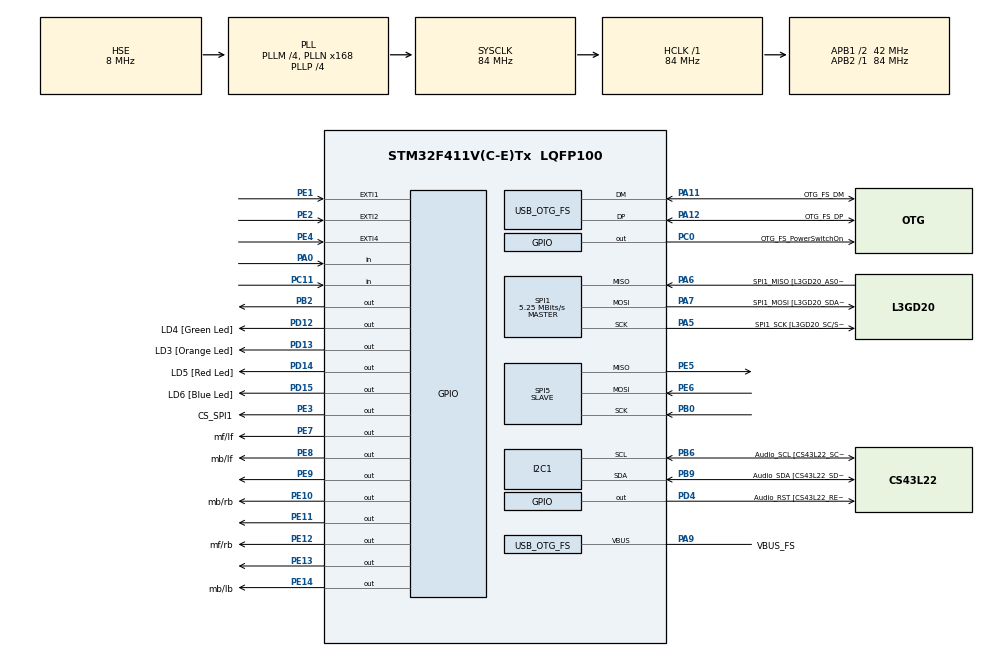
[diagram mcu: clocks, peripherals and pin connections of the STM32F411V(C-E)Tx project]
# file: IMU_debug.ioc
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Dma.Request0=SPI5_RX
Dma.Request1=SPI5_TX
Dma.SPI5_RX.0.Direction=DMA_PERIPH_TO_MEMORY
Dma.SPI5_RX.0.FIFOMode=DMA_FIFOMODE_DISABLE
Dma.SPI5_RX.0.Instance=DMA2_Stream3
Dma.SPI5_RX.0.MemDataAlignment=DMA_MDATAALIGN_BYTE
Dma.SPI5_RX.0.MemInc=DMA_MINC_ENABLE
Dma.SPI5_RX.0.Mode=DMA_NORMAL
Dma.SPI5_RX.0.PeriphDataAlignment=DMA_PDATAALIGN_BYTE
Dma.SPI5_RX.0.PeriphInc=DMA_PINC_DISABLE
Dma.SPI5_RX.0.Priority=DMA_PRIORITY_LOW
Dma.SPI5_TX.1.Direction=DMA_MEMORY_TO_PERIPH
Dma.SPI5_TX.1.FIFOMode=DMA_FIFOMODE_DISABLE
Dma.SPI5_TX.1.Instance=DMA2_Stream4
Dma.SPI5_TX.1.MemDataAlignment=DMA_MDATAALIGN_BYTE
Dma.SPI5_TX.1.MemInc=DMA_MINC_ENABLE
Dma.SPI5_TX.1.Mode=DMA_NORMAL
Dma.SPI5_TX.1.PeriphDataAlignment=DMA_PDATAALIGN_BYTE
Dma.SPI5_TX.1.PeriphInc=DMA_PINC_DISABLE
Dma.SPI5_TX.1.Priority=DMA_PRIORITY_LOW
I2C1.I2C_Mode=I2C_Fast
Mcu.Family=STM32F4
Mcu.Name=STM32F411V(C-E)Tx
Mcu.Package=LQFP100
NVIC.DMA2_Stream3_IRQn=true\:0\:0\:false\:false\:true\:false\:true
NVIC.DMA2_Stream4_IRQn=true\:0\:0\:false\:false\:true\:false\:true
NVIC.EXTI1_IRQn=true\:0\:0\:false\:false\:true\:true\:true
NVIC.EXTI2_IRQn=true\:0\:0\:false\:false\:true\:true\:true
NVIC.EXTI4_IRQn=true\:0\:0\:false\:false\:true\:true\:true
NVIC.OTG_FS_IRQn=true\:0\:0\:false\:false\:true\:false\:true
NVIC.PriorityGroup=NVIC_PRIORITYGROUP_0
PA0-WKUP.Signal=GPIO_Input
PA10.Signal=USB_OTG_FS_ID
PA11.GPIO_Label=OTG_FS_DM
PA11.Mode=Device_Only
PA11.Signal=USB_OTG_FS_DM
PA12.GPIO_Label=OTG_FS_DP
PA12.Mode=Device_Only
PA12.Signal=USB_OTG_FS_DP
PA13.GPIO_Label=SWDIO
PA13.Mode=Serial_Wire
PA13.Signal=SYS_JTMS-SWDIO
PA14.GPIO_Label=SWCLK
PA14.Mode=Serial_Wire
PA14.Signal=SYS_JTCK-SWCLK
PA4.GPIO_Label=I2S3_WS [CS43L22_LRCK]
PA4.GPIO_Mode=GPIO_MODE_AF_PP
PA4.GPIO_PuPd=GPIO_NOPULL
PA4.GPIO_Speed=GPIO_SPEED_FREQ_LOW
PA4.Signal=I2S3_WS
PA5.GPIO_Label=SPI1_SCK [L3GD20_SC/SPC]
PA5.Mode=Full_Duplex_Master
PA5.Signal=SPI1_SCK
PA6.GPIO_Label=SPI1_MISO [L3GD20_AS0/SDO]
PA6.Mode=Full_Duplex_Master
PA6.Signal=SPI1_MISO
PA7.GPIO_Label=SPI1_MOSI [L3GD20_SDA/SDI/SDO]
PA7.Mode=Full_Duplex_Master
PA7.Signal=SPI1_MOSI
PA9.GPIO_Label=VBUS_FS
PA9.Mode=Activate_VBUS
PA9.Signal=USB_OTG_FS_VBUS
PB0.Mode=Full_Duplex_Slave
PB0.Signal=SPI5_SCK
PB10.GPIO_Label=CLK_IN [MP45DT02_CLK]
PB10.Signal=I2S2_CK
PB12.Signal=I2S2_WS
PB2.Signal=GPIO_Output
PB3.GPIO_Label=SWO
PB3.Signal=SYS_JTDO-SWO
PB6.GPIO_Label=Audio_SCL [CS43L22_SCL]
PB6.GPIO_Mode=GPIO_MODE_AF_OD
PB6.GPIO_Pu=GPIO_PULLUP
PB6.GPIO_PuPd=GPIO_NOPULL
PB6.GPIO_Speed=GPIO_SPEED_FREQ_LOW
PB6.Mode=I2C
PB6.Signal=I2C1_SCL
PB9.GPIO_Label=Audio_SDA [CS43L22_SDA]
PB9.GPIO_Mode=GPIO_MODE_AF_OD
PB9.GPIO_Pu=GPIO_PULLUP
PB9.GPIO_PuPd=GPIO_NOPULL
PB9.GPIO_Speed=GPIO_SPEED_FREQ_LOW
PB9.Mode=I2C
PB9.Signal=I2C1_SDA
PC0.GPIO_Label=OTG_FS_PowerSwitchOn
PC0.PinState=GPIO_PIN_SET
PC0.Signal=GPIO_Output
PC10.GPIO_Label=I2S3_SCK [CS43L22_SCLK]
PC10.GPIO_Mode=GPIO_MODE_AF_PP
PC10.GPIO_PuPd=GPIO_NOPULL
PC10.GPIO_Speed=GPIO_SPEED_FREQ_LOW
PC10.Signal=I2S3_CK
PC11.Signal=GPIO_Input
PC12.GPIO_Label=I2S3_SD [CS43L22_SDIN]
PC12.GPIO_Mode=GPIO_MODE_AF_PP
PC12.GPIO_PuPd=GPIO_NOPULL
PC12.GPIO_Speed=GPIO_SPEED_FREQ_LOW
PC12.Signal=I2S3_SD
PC14-OSC32_IN.GPIO_Label=PC14-OSC32_IN
PC14-OSC32_IN.Signal=RCC_OSC32_IN
PC15-OSC32_OUT.GPIO_Label=PC15-OSC32_OUT
PC15-OSC32_OUT.Signal=RCC_OSC32_OUT
PC3.GPIO_Label=PDM_OUT [MP45DT02_DOUT]
PC3.Signal=I2S2_SD
PC7.GPIO_Label=I2S3_MCK [CS43L22_MCLK]
PC7.GPIO_Mode=GPIO_MODE_AF_PP
PC7.GPIO_PuPd=GPIO_NOPULL
PC7.GPIO_Speed=GPIO_SPEED_FREQ_LOW
PC7.Signal=I2S3_MCK
PD12.GPIO_Label=LD4 [Green Led]
PD12.GPIO_PuPd=GPIO_NOPULL
PD12.GPIO_Speed=GPIO_SPEED_FREQ_LOW
PD12.Signal=GPIO_Output
PD13.GPIO_Label=LD3 [Orange Led]
PD13.GPIO_PuPd=GPIO_NOPULL
PD13.GPIO_Speed=GPIO_SPEED_FREQ_LOW
PD13.Signal=GPIO_Output
PD14.GPIO_Label=LD5 [Red Led]
PD14.GPIO_PuPd=GPIO_NOPULL
PD14.GPIO_Speed=GPIO_SPEED_FREQ_LOW
PD14.Signal=GPIO_Output
PD15.GPIO_Label=LD6 [Blue Led]
PD15.GPIO_PuPd=GPIO_NOPULL
PD15.GPIO_Speed=GPIO_SPEED_FREQ_LOW
PD15.Signal=GPIO_Output
PD4.GPIO_Label=Audio_RST [CS43L22_RESET]
PD4.Signal=GPIO_Output
PE1.Signal=GPXTI1
PE10.GPIO_Label=mb/rb
PE10.Signal=GPIO_Output
PE11.Signal=GPIO_Output
PE12.GPIO_Label=mf/rb
PE12.Signal=GPIO_Output
PE13.Signal=GPIO_Output
PE14.GPIO_Label=mb/lb
PE14.Signal=GPIO_Output
PE2.Signal=GPXTI2
PE3.GPIO_Label=CS_SPI1
PE3.GPIO_Speed=GPIO_SPEED_FREQ_HIGH
PE3.Signal=GPIO_Output
PE4.Signal=GPXTI4
PE5.Mode=Full_Duplex_Slave
PE5.Signal=SPI5_MISO
PE6.Mode=Full_Duplex_Slave
PE6.Signal=SPI5_MOSI
PE7.GPIO_Label=mf/lf
PE7.Signal=GPIO_Output
PE8.GPIO_Label=mb/lf
PE8.Signal=GPIO_Output
PE9.Signal=GPIO_Output
PH0\ -\ OSC_IN.GPIO_Label=PH0-OSC_IN
PH0\ -\ OSC_IN.Mode=HSE-External-Oscillator
PH0\ -\ OSC_IN.Signal=RCC_OSC_IN
PH1\ -\ OSC_OUT.GPIO_Label=PH1-OSC_OUT
PH1\ -\ OSC_OUT.Mode=HSE-External-Oscillator
PH1\ -\ OSC_OUT.Signal=RCC_OSC_OUT
ProjectManager.HeapSize=0x200
ProjectManager.StackSize=0x400
ProjectManager.TargetToolchain=STM32CubeIDE
RCC.48MHZClocksFreq_Value=48000000
RCC.AHBFreq_Value=84000000
RCC.APB1CLKDivider=RCC_HCLK_DIV2
RCC.APB1Freq_Value=42000000
RCC.APB1TimFreq_Value=84000000
RCC.APB2Freq_Value=84000000
RCC.APB2TimFreq_Value=84000000
RCC.CortexFreq_Value=84000000
RCC.HCLKFreq_Value=84000000
RCC.HSE_VALUE=8000000
RCC.HSI_VALUE=16000000
RCC.LSE_VALUE=32768
RCC.PLLI2SM=5
RCC.PLLI2SN=200
RCC.PLLM=4
RCC.PLLN=168
RCC.PLLP=RCC_PLLP_DIV4
RCC.PLLQ=7
RCC.SYSCLKFreq_VALUE=84000000
RCC.SYSCLKSource=RCC_SYSCLKSOURCE_PLLCLK
RCC.VCOOutputFreq_Value=336000000
SPI1.BaudRatePrescaler=SPI_BAUDRATEPRESCALER_16
SPI1.CLKPhase=SPI_PHASE_2EDGE
SPI1.CalculateBaudRate=5.25 MBits/s
SPI1.Direction=SPI_DIRECTION_2LINES
SPI1.Mode=SPI_MODE_MASTER
SPI1.VirtualType=VM_MASTER
SPI5.Direction=SPI_DIRECTION_2LINES
SPI5.Mode=SPI_MODE_SLAVE
SPI5.VirtualType=VM_SLAVE
USB_DEVICE.CLASS_NAME_FS=CDC
USB_DEVICE.PRODUCT_STRING_CDC_FS=IMUDemo
USB_DEVICE.VirtualMode=Cdc
USB_DEVICE.VirtualModeFS=Cdc_FS
USB_OTG_FS.VirtualMode=Device_Only
VP_USB_DEVICE_VS_USB_DEVICE_CDC_FS.Mode=CDC_FS
board=STM32F411E-DISCO

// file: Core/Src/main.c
/* USER CODE BEGIN Header */
/**
  ******************************************************************************
  * @file           : main.c
  * @brief          : Main program body
  ******************************************************************************
  * @attention
  *
  * <h2><center>&copy; Copyright (c) 2022 STMicroelectronics.
  * All rights reserved.</center></h2>
  *
  * This software component is licensed by ST under Ultimate Liberty license
  * SLA0044, the "License"; You may not use this file except in compliance with
  * the License. You may obtain a copy of the License at:
  *                             www.st.com/SLA0044
  *
  ******************************************************************************
  */
/* USER CODE END Header */
#include "main.h"
#include "usb_device.h"

/* USER CODE BEGIN Includes */
#include "math.h"
#include "MadgwickAHRS.h"
#include "usbd_cdc_if.h"
#include "stdint.h"
/* USER CODE END Includes */

/* USER CODE BEGIN PTD */
struct EMUdata{
	int16_t x;
	int16_t y;
	int16_t z;
} Acc, AccF, Gyro, GyroF, Mag, MagF;
struct SendIMU{
	uint16_t head;
	//uint16_t num;
	int16_t XAcc;
	int16_t YAcc;
	int16_t ZAcc;
	int16_t XGyro;
	int16_t YGyro;
	int16_t ZGyro;
	int16_t XMag;
	int16_t YMag;
	int16_t ZMag;
}IMUsend;
volatile struct CalculatePoz{
	uint32_t head;
	float pitch;
	float roll;
	float heading;
	float Q0;
	float Q1;
	float Q2;
	float Q3;
	float pozX;
	float pozY;
	float magX;
	float magY;
	float magZ;
}P;
volatile struct IMUError{
	int16_t Gyrox; //drift from 0
	int16_t Gyroy;
	int16_t Gyroz;
	float HardIronMagx;
	float HardIronMagy;
	float HardIronMagz;
	float SoftIronMagx;
	float SoftIronMagy;
	float SoftIronMagz;
	int16_t Accx;
	int16_t Accy;
	int16_t Accz;
}E;
/* USER CODE END PTD */

/* USER CODE BEGIN PD */
#define PI 3.14159265358979323846f
#define DEG_TO_RAD 0.01745329252f
#define SPI_BUFFER_SIZE 32

#define STEVILO_CLENOV_TP 60
struct tekocePovprecjeInt16{
	uint8_t index;
	int16_t avrage;
	int32_t sum;
	int16_t vals[STEVILO_CLENOV_TP];
} AccX,AccY,AccZ,GyroX,GyroY,GyroZ,MagX,MagY,MagZ;

/* USER CODE END PD */

I2C_HandleTypeDef hi2c1;

SPI_HandleTypeDef hspi1;
SPI_HandleTypeDef hspi5;
DMA_HandleTypeDef hdma_spi5_rx;
DMA_HandleTypeDef hdma_spi5_tx;

/* USER CODE BEGIN PV */
volatile uint8_t GyroReady = 0;
volatile uint8_t AccReady = 0;
volatile uint8_t MagReady = 0;
volatile uint8_t sendData = 0;

volatile float Xold = 0.0f;
volatile float Yold = 0.0f;

uint32_t rasberyReqSize = 4;
volatile uint8_t SPIcommandRecived = 0;

volatile uint8_t SpiTxData[SPI_BUFFER_SIZE];
volatile uint8_t SpiRxData[SPI_BUFFER_SIZE];
/* USER CODE END PV */

void SystemClock_Config(void);
static void MX_GPIO_Init(void);
static void MX_I2C1_Init(void);
static void MX_SPI1_Init(void);
static void MX_DMA_Init(void);
static void MX_SPI5_Init(void);
/* USER CODE BEGIN PFP */
void HAL_GPIO_EXTI_Callback(uint16_t GPIO_Pin);
/* USER CODE END PFP */

/* USER CODE BEGIN 0 */

uint8_t i2c1_pisiRegister(uint8_t naprava, uint8_t reg, uint8_t podatek) {
  naprava <<= 1;
  return HAL_I2C_Mem_Write(&hi2c1, naprava, reg, I2C_MEMADD_SIZE_8BIT, &podatek, 1, 10);
}

void i2c1_beriRegistre(uint8_t naprava, uint8_t reg, uint8_t* podatek, uint8_t dolzina) {
  if ((dolzina>1)&&(naprava==0x19))  // ce je naprava 0x19 moramo postaviti ta bit, ce zelimo brati vec zlogov
    reg |= 0x80;
  naprava <<= 1;
  HAL_I2C_Mem_Read(&hi2c1, naprava, reg, I2C_MEMADD_SIZE_8BIT, podatek, dolzina, dolzina);
}
uint8_t spi1_beriRegister(uint8_t reg) {
	uint16_t buf_out, buf_in;
	reg |= 0x80; // najpomembnejsi bit na 1
	buf_out = reg; // little endian, se postavi na pravo mesto ....
	HAL_GPIO_WritePin(GPIOE, GPIO_PIN_3, GPIO_PIN_RESET);
	//HAL_SPI_TransmitReceive(&hspi1, (uint8_t*)&buf_out, (uint8_t*)&buf_in, 2, 2); // blocking posiljanje ....
	HAL_SPI_TransmitReceive(&hspi1, &((uint8_t*)&buf_out)[0], &((uint8_t*)&buf_in)[0], 1, 2); // razbito na dva dela, da se podaljsa cas in omogoci pravilno delovanje testa
	HAL_SPI_TransmitReceive(&hspi1, &((uint8_t*)&buf_out)[1], &((uint8_t*)&buf_in)[1], 1, 2); // razbito na dva dela, da se podaljsa cas in omogoci pravilno delovanje testa
	HAL_GPIO_WritePin(GPIOE, GPIO_PIN_3, GPIO_PIN_SET);
	return buf_in >> 8; // little endian...
}
void spi1_pisiRegister(uint8_t reg, uint8_t vrednost) {
  uint16_t buf_out;
  buf_out = reg | (vrednost<<8); // little endian, se postavi na pravo mesto ....
  HAL_GPIO_WritePin(GPIOE, GPIO_PIN_3, GPIO_PIN_RESET);
  //HAL_SPI_Transmit(&hspi1, (uint8_t*)&buf_out, 2, 2); // blocking posiljanje ....
  HAL_SPI_Transmit(&hspi1, &((uint8_t*)&buf_out)[0], 1, 2); // razbito na dva dela, da se podaljsa cas in omogoci pravilno delovanje testa
  HAL_SPI_Transmit(&hspi1, &((uint8_t*)&buf_out)[1], 1, 2); // razbito na dva dela, da se podaljsa cas in omogoci pravilno delovanje testa
  HAL_GPIO_WritePin(GPIOE, GPIO_PIN_3, GPIO_PIN_SET);
}
void spi1_beriRegistre(uint8_t reg, uint8_t* buffer, uint8_t velikost) {
  reg |= 0xC0; // najpomembnejsa bita na 1
  HAL_GPIO_WritePin(GPIOE, GPIO_PIN_3, GPIO_PIN_RESET);
  HAL_SPI_Transmit(&hspi1, &reg, 1, 10); // blocking posiljanje....
  HAL_SPI_Receive(&hspi1,  buffer, velikost, velikost); // blocking posiljanje....
  HAL_GPIO_WritePin(GPIOE, GPIO_PIN_3, GPIO_PIN_SET);
}
void nastaviPospeskometer(){
	//register maping lsm303agr.pdf page(43)
	//0x23 0x40 BLE litle endian
	i2c1_pisiRegister(0x19, 0x21, 0x0);
	i2c1_pisiRegister(0x19, 0x24, 0x0);
	i2c1_pisiRegister(0x19, 0x25, 0x0);
	i2c1_pisiRegister(0x19, 0x26, 0x0);
	i2c1_pisiRegister(0x19, 0x20, 0x67);  //ctrl_reg1 zbudi pospeskometer in omogoci osi //0x20 0x67 200Hz enable XYZ
	//block data update HR=1 oprating mode selection 12bit data output LPen = 0 (low power mode disabled) FS0 = 1(+-4g obcutljivost)
	i2c1_pisiRegister(0x19, 0x23, 0x8);  //ctrl_reg4 nastavi posodobitev samo ko se prebere vrednost ter locljivost +-2g
	i2c1_pisiRegister(0x19, 0x22, 0x10);  //0x22 0x10 DRDY1 INT1 pin enable pe4
}
void nastaviMagnetometer(){
	i2c1_pisiRegister(0x1e, 0x60, 0xC); //cfg_reg_a_m ODR= 100HZ
	i2c1_pisiRegister(0x1e, 0x61, 0x0); //cfg_reg_b_m
	i2c1_pisiRegister(0x1e, 0x62, 0x1); //cfg_reg_c_m INT_MAG=1 INT_MAG_PIN=0 BDU=0
	i2c1_pisiRegister(0x1e, 0x63, 0xE5); //int_ctrl_reg_m enable XYZ in IEN=1 interupt generation enable IEA=1
}
void nastaviGiroskop() {
  // preverimo ali smo "poklicali" pravi senzor
  uint8_t cip = spi1_beriRegister(0x0F);
  if (cip!=0xD4 && cip!=0xD3) {
	for (;;); //napaka ni senzorja
  }
  spi1_pisiRegister(0x21,0);//REG2 register za high pass filter
  spi1_pisiRegister(0x22,0x8);//REG3 interupt INT1 disable DRDY/INT2 enable
    //0001 0000 FS-01 500dps
  spi1_pisiRegister(0x23,0x10);//REG4 MSB@lower addres 500deg/s 0x10 BLE = 0 BIGendian

  spi1_pisiRegister(0x25,0);//REFRENCE
  spi1_pisiRegister(0x2e,0);//FIFO_CTRL
  spi1_pisiRegister(0x32,0);//INT1_THS
  spi1_pisiRegister(0x33,0);//INT1_THS
  spi1_pisiRegister(0x34,0);//INT1_THS
  spi1_pisiRegister(0x35,0);//INT1_THS
  spi1_pisiRegister(0x36,0);//INT1_THS
  spi1_pisiRegister(0x37,0);//INT1_THS
  spi1_pisiRegister(0x38,0);//INT1_DUR
  spi1_pisiRegister(0x30,0);//INT1_CFG

  spi1_pisiRegister(0x24,0);//REG5
  //0101 1111 : (1111)=(PD,Zen,Yen,Xen)
  spi1_pisiRegister(0x20,0x5f);//CTRL_REG1 omogoci x-1,y-1,z-1,PD-1(normal mode) DR = 01 BW = 10 cutof=25 200hz

  spi1_pisiRegister(0x20, 0x0F);//CTRL REG1 zbudi ziroskop in omogoci osi
}

float normalize_v3f(float* x, float* y, float* z){
	float norm = sqrt( (*x) * (*x) + (*y) * (*y) + (*z) * (*z) );
	*x /= norm;
	*y /= norm;
	*z /= norm;
}

int16_t izracunajPovprecjeInt16(struct tekocePovprecjeInt16* data,int16_t nov, uint8_t cleni){
	data->sum =  data->sum + nov - data->vals[data->index]; //pristejemo trenutno vrednost in odstejemo zadnjo
	data->vals[data->index] = nov; //na zadnjo zamenjamo z novo
	data->index++;
	if(cleni > STEVILO_CLENOV_TP){cleni = STEVILO_CLENOV_TP;}
	if(data->index >= cleni){data->index = 0;}
	data->avrage =  data->sum/cleni;//izracunamo povprecje
	return data->avrage;
}

void getDrift(){
	HAL_GPIO_WritePin(GPIOD, GPIO_PIN_14, 1);
	int32_t sumGyrox = 0;
	int32_t sumGyroy = 0;
	int32_t sumGyroz = 0;
	int32_t sumAccx = 0;
	int32_t sumAccy = 0;
	int32_t sumAccz = 0;
	for(int i=0; i < 400; i++){
		sumGyrox += Gyro.x;
		sumGyroy += Gyro.y;
		sumGyroz += Gyro.z;
		sumAccx += Acc.x;
		sumAccy += Acc.y;
		sumAccz += Acc.z;
		HAL_Delay(6);
	}
	E.Accx = sumAccx/400; //vektor gravitacije
	E.Accy = sumAccy/400;
	E.Accz = sumAccz/400;
	E.Gyrox = sumGyrox/400;
	E.Gyroy = sumGyroy/400;
	E.Gyroz = sumGyroz/400;

	HAL_GPIO_WritePin(GPIOD, GPIO_PIN_14, 0);

	P.pozX = 0;
	P.pozY = 0;
}

void HAL_GPIO_EXTI_Callback(uint16_t GPIO_Pin)
{
	//kateri pin je poklical EXIT event
	if(GPIO_Pin == GPIO_PIN_1){ //vsakic ko dobis interupt posodobi podatke
		spi1_beriRegistre(0x28, (uint8_t*)&Gyro, 6);
		GyroReady = 1; //zastavica da so na voljo novi podatki 200Hz
	}
	else if(GPIO_Pin == GPIO_PIN_4){
		//data ready pospeskometer
		i2c1_beriRegistre(0x19, 0x28,(uint8_t*)&Acc, 6);
		AccReady = 1; //200Hz
	}
	else if(GPIO_Pin == GPIO_PIN_2){
		//data ready megnetometer
		i2c1_beriRegistre(0x1e, 0x68,(uint8_t*)&Mag, 6);
		MagReady = 1; //100Hz
	}

}
/* USER CODE END 0 */

int main(void)
{

  /* MCU Configuration--------------------------------------------------------*/

  /* Reset of all peripherals, Initializes the Flash interface and the Systick. */
  HAL_Init();

  /* Configure the system clock */
  SystemClock_Config();

  /* Initialize all configured peripherals */
  MX_GPIO_Init();
  MX_I2C1_Init();
  MX_SPI1_Init();
  MX_DMA_Init();
  MX_SPI5_Init();
  MX_USB_DEVICE_Init();

  /* Infinite loop */
  /* USER CODE BEGIN WHILE */
  __HAL_I2C_ENABLE(&hi2c1); //omogocimo I2C1 za komunikacijo z vgrajenimi cipi
  __HAL_SPI_ENABLE(&hspi1); //komunikacija gyro

  __HAL_SPI_ENABLE(&hspi5); //rasbery pi
  HAL_Delay(50);
  nastaviPospeskometer();
  nastaviMagnetometer();
  nastaviGiroskop();
  //prvic preberi podatke da se generirajo interupti
  spi1_beriRegistre(0x28, (uint8_t*)&Gyro, 6);
  i2c1_beriRegistre(0x19, 0x28,(uint8_t*)&Acc, 6);
  i2c1_beriRegistre(0x1e, 0x68,(uint8_t*)&Mag, 6);

  E.Accx = 0;
  E.Accy = 0;
  E.Accz = 0;
  E.Gyrox = 0;
  E.Gyroy = 0;
  E.Gyroz = 0;
  E.HardIronMagx = 0;
  E.HardIronMagy = 0;
  E.HardIronMagz = 0;
  E.SoftIronMagx = 1;
  E.SoftIronMagy = 1;
  E.SoftIronMagz = 1;

  getDrift();

  while (1)
  {
    /* USER CODE END WHILE */
	  if(MagReady){
		  MagF.x = izracunajPovprecjeInt16(&MagX,Mag.x,10);
		  MagF.y = izracunajPovprecjeInt16(&MagY,Mag.y,10);
		  MagF.z = izracunajPovprecjeInt16(&MagZ,Mag.z,10);
		  MagReady = 0;

		  //posiljanje podatkov

		  //HAL_SPI_TransmitReceive_DMA(&hspi5, SpiTxData, SpiRxData, 32);
		  //HAL_SPI_Transmit_DMA(&hspi5, SpiTxData, 32);
		  //HAL_SPI_Receive_DMA(&hspi5, SpiRxData, 32);

		  P.head = 0xAAAB;
		  CDC_Transmit_FS((uint8_t*)&P,(sizeof(float)*12)+4);
	  }
	  if(AccReady){
		  Acc.x -= E.Accx;
		  Acc.y -= E.Accy;
		  AccF.x = izracunajPovprecjeInt16(&AccX,Acc.x,50);
		  AccF.y = izracunajPovprecjeInt16(&AccY,Acc.y,50);
		  AccF.z = izracunajPovprecjeInt16(&AccZ,Acc.z,50);
		  AccReady = 0;
	  }
	  if(GyroReady){
		  Gyro.x -= E.Gyrox;
		  Gyro.y -= E.Gyroy;
		  Gyro.z -= E.Gyroz;
		  GyroF.x = izracunajPovprecjeInt16(&GyroX,Gyro.x,50);
		  GyroF.y = izracunajPovprecjeInt16(&GyroY,Gyro.y,50);
		  GyroF.z = izracunajPovprecjeInt16(&GyroZ,Gyro.z,50);
		  GyroReady = 0;
		  //poracunamo podatke
		  float gx,gy,gz,ax,ay,az,mx,my,mz;

		  if(AccF.x == 0 && AccF.y == 0 && AccF.z==0){ax=0.0f; ay=0.0f; az=1.0f;}
		  else{
			  ax = ((float)AccF.x) *-0.0006103515f;
			  ay = ((float)AccF.y) *0.0006103515f;
			  az = ((float)AccF.z) *0.0006103515f; //+-2g  2/(2^16/2)
			  normalize_v3f(&ax,&ay,&az);
		  }

		  gx = ((float)GyroF.x) * 0.0175f * DEG_TO_RAD*2; //deg/s obcutljivost 500dps
		  gy = ((float)GyroF.y) * 0.0175f * DEG_TO_RAD*2;
		  gz = ((float)GyroF.z) * 0.0175f * DEG_TO_RAD*2;

		  if(MagF.x == 0 && MagF.y == 0 && MagF.z==0){mx = 0.2f; my = 0.2f; mz = 0.1f;}
		  else{
			  mx = ((float)MagF.x);// * 0.0015f; //magnetic sesnetivity 1.5 mgauss/LSB
			  my = ((float)MagF.y);// * -0.0015f;
			  mz = ((float)MagF.z);// * 0.0015f;
		  }
		  normalize_v3f(&mx,&my,&mz);

		  //MadgwickAHRSupdate(gx,gy,gz,ax,ay,az,mx,my,mz);
		  MadgwickAHRSupdate(gx,gy,gz,ax,ay,az,0,0,0);
		  P.heading = atan2(2*(q0*q3+q1*q2),1-2*(q2*q2+q3*q3));//*(180/PI);
		  P.roll = atan2(2*(q0*q1+q2*q3),1-2*(q1*q1+q2*q2));//*(180/PI);
		  P.pitch = asin(2*(q0*q2 - q3*q1));//*(180/PI);
		  P.Q0 = q0; P.Q1 = q1; P.Q2 = q2; P.Q3 = q3;

		  //rotiraj po X za roll
		  ay = ay*cos(P.roll)-az*sin(P.roll);
		  az = ay*sin(P.roll)+az*cos(P.roll);
		  //rotiraj vektor okoli Y za pitch
		  ax = ax*cos(-P.pitch)-az*sin(-P.pitch);
		  az = -ax*sin(-P.pitch)+az*cos(-P.pitch);

		  //pretvorimo v globalni kordinatni sistem

		  if(ax > 0.0005 || ay > 0.0005){
			  P.pozX = Xold + 0.5*ax*0.025;
			  P.pozY = Yold + 0.5*ay*0.025;
			  Xold = P.pozX;
			  Yold = P.pozY;
		  }
		  P.magX = ax;
		  P.magY = ay;
		  P.magZ = az;

		  for(int n=4; n<30; n++){ //pripravi podatke za spi
			  SpiTxData[n-4] = ((uint8_t*)&P)[n];
		  }
	  }
  }
}

void SystemClock_Config(void)
{
  RCC_OscInitTypeDef RCC_OscInitStruct = {0};
  RCC_ClkInitTypeDef RCC_ClkInitStruct = {0};

  /** Configure the main internal regulator output voltage
  */
  __HAL_RCC_PWR_CLK_ENABLE();
  __HAL_PWR_VOLTAGESCALING_CONFIG(PWR_REGULATOR_VOLTAGE_SCALE1);
  /** Initializes the RCC Oscillators according to the specified parameters
  * in the RCC_OscInitTypeDef structure.
  */
  RCC_OscInitStruct.OscillatorType = RCC_OSCILLATORTYPE_HSE;
  RCC_OscInitStruct.HSEState = RCC_HSE_ON;
  RCC_OscInitStruct.PLL.PLLState = RCC_PLL_ON;
  RCC_OscInitStruct.PLL.PLLSource = RCC_PLLSOURCE_HSE;
  RCC_OscInitStruct.PLL.PLLM = 4;
  RCC_OscInitStruct.PLL.PLLN = 168;
  RCC_OscInitStruct.PLL.PLLP = RCC_PLLP_DIV4;
  RCC_OscInitStruct.PLL.PLLQ = 7;
  if (HAL_RCC_OscConfig(&RCC_OscInitStruct) != HAL_OK)
  {
    Error_Handler();
  }
  /** Initializes the CPU, AHB and APB buses clocks
  */
  RCC_ClkInitStruct.ClockType = RCC_CLOCKTYPE_HCLK|RCC_CLOCKTYPE_SYSCLK
                              |RCC_CLOCKTYPE_PCLK1|RCC_CLOCKTYPE_PCLK2;
  RCC_ClkInitStruct.SYSCLKSource = RCC_SYSCLKSOURCE_PLLCLK;
  RCC_ClkInitStruct.AHBCLKDivider = RCC_SYSCLK_DIV1;
  RCC_ClkInitStruct.APB1CLKDivider = RCC_HCLK_DIV2;
  RCC_ClkInitStruct.APB2CLKDivider = RCC_HCLK_DIV1;

  if (HAL_RCC_ClockConfig(&RCC_ClkInitStruct, FLASH_LATENCY_2) != HAL_OK)
  {
    Error_Handler();
  }
}

static void MX_I2C1_Init(void)
{

  hi2c1.Instance = I2C1;
  hi2c1.Init.ClockSpeed = 400000;
  hi2c1.Init.DutyCycle = I2C_DUTYCYCLE_2;
  hi2c1.Init.OwnAddress1 = 0;
  hi2c1.Init.AddressingMode = I2C_ADDRESSINGMODE_7BIT;
  hi2c1.Init.DualAddressMode = I2C_DUALADDRESS_DISABLE;
  hi2c1.Init.OwnAddress2 = 0;
  hi2c1.Init.GeneralCallMode = I2C_GENERALCALL_DISABLE;
  hi2c1.Init.NoStretchMode = I2C_NOSTRETCH_DISABLE;
  if (HAL_I2C_Init(&hi2c1) != HAL_OK)
  {
    Error_Handler();
  }

}

static void MX_SPI1_Init(void)
{

  /* SPI1 parameter configuration*/
  hspi1.Instance = SPI1;
  hspi1.Init.Mode = SPI_MODE_MASTER;
  hspi1.Init.Direction = SPI_DIRECTION_2LINES;
  hspi1.Init.DataSize = SPI_DATASIZE_8BIT;
  hspi1.Init.CLKPolarity = SPI_POLARITY_LOW;
  hspi1.Init.CLKPhase = SPI_PHASE_2EDGE;
  hspi1.Init.NSS = SPI_NSS_SOFT;
  hspi1.Init.BaudRatePrescaler = SPI_BAUDRATEPRESCALER_16;
  hspi1.Init.FirstBit = SPI_FIRSTBIT_MSB;
  hspi1.Init.TIMode = SPI_TIMODE_DISABLE;
  hspi1.Init.CRCCalculation = SPI_CRCCALCULATION_DISABLE;
  hspi1.Init.CRCPolynomial = 10;
  if (HAL_SPI_Init(&hspi1) != HAL_OK)
  {
    Error_Handler();
  }

}

static void MX_SPI5_Init(void)
{

  /* SPI5 parameter configuration*/
  hspi5.Instance = SPI5;
  hspi5.Init.Mode = SPI_MODE_SLAVE;
  hspi5.Init.Direction = SPI_DIRECTION_2LINES;
  hspi5.Init.DataSize = SPI_DATASIZE_8BIT;
  hspi5.Init.CLKPolarity = SPI_POLARITY_LOW;
  hspi5.Init.CLKPhase = SPI_PHASE_1EDGE;
  hspi5.Init.NSS = SPI_NSS_SOFT;
  hspi5.Init.FirstBit = SPI_FIRSTBIT_MSB;
  hspi5.Init.TIMode = SPI_TIMODE_DISABLE;
  hspi5.Init.CRCCalculation = SPI_CRCCALCULATION_DISABLE;
  hspi5.Init.CRCPolynomial = 10;
  if (HAL_SPI_Init(&hspi5) != HAL_OK)
  {
    Error_Handler();
  }

}

static void MX_DMA_Init(void)
{

  /* DMA controller clock enable */
  __HAL_RCC_DMA2_CLK_ENABLE();

  /* DMA interrupt init */
  /* DMA2_Stream3_IRQn interrupt configuration */
  HAL_NVIC_SetPriority(DMA2_Stream3_IRQn, 0, 0);
  HAL_NVIC_EnableIRQ(DMA2_Stream3_IRQn);
  /* DMA2_Stream4_IRQn interrupt configuration */
  HAL_NVIC_SetPriority(DMA2_Stream4_IRQn, 0, 0);
  HAL_NVIC_EnableIRQ(DMA2_Stream4_IRQn);

}

static void MX_GPIO_Init(void)
{
  GPIO_InitTypeDef GPIO_InitStruct = {0};

  /* GPIO Ports Clock Enable */
  __HAL_RCC_GPIOE_CLK_ENABLE();
  __HAL_RCC_GPIOC_CLK_ENABLE();
  __HAL_RCC_GPIOH_CLK_ENABLE();
  __HAL_RCC_GPIOA_CLK_ENABLE();
  __HAL_RCC_GPIOB_CLK_ENABLE();
  __HAL_RCC_GPIOD_CLK_ENABLE();

  /*Configure GPIO pin Output Level */
  HAL_GPIO_WritePin(GPIOE, CS_SPI1_Pin|mf_lf_Pin|mb_lf_Pin|GPIO_PIN_9
                          |mb_rb_Pin|GPIO_PIN_11|mf_rb_Pin|GPIO_PIN_13
                          |mb_lb_Pin, GPIO_PIN_RESET);

  /*Configure GPIO pin Output Level */
  HAL_GPIO_WritePin(OTG_FS_PowerSwitchOn_GPIO_Port, OTG_FS_PowerSwitchOn_Pin, GPIO_PIN_SET);

  /*Configure GPIO pin Output Level */
  HAL_GPIO_WritePin(GPIOB, GPIO_PIN_2, GPIO_PIN_RESET);

  /*Configure GPIO pin Output Level */
  HAL_GPIO_WritePin(GPIOD, LD4_Pin|LD3_Pin|LD5_Pin|LD6_Pin
                          |Audio_RST_Pin, GPIO_PIN_RESET);

  /*Configure GPIO pins : PE2 PE4 PE1 */
  GPIO_InitStruct.Pin = GPIO_PIN_2|GPIO_PIN_4|GPIO_PIN_1;
  GPIO_InitStruct.Mode = GPIO_MODE_IT_RISING;
  GPIO_InitStruct.Pull = GPIO_NOPULL;
  HAL_GPIO_Init(GPIOE, &GPIO_InitStruct);

  /*Configure GPIO pin : CS_SPI1_Pin */
  GPIO_InitStruct.Pin = CS_SPI1_Pin;
  GPIO_InitStruct.Mode = GPIO_MODE_OUTPUT_PP;
  GPIO_InitStruct.Pull = GPIO_NOPULL;
  GPIO_InitStruct.Speed = GPIO_SPEED_FREQ_HIGH;
  HAL_GPIO_Init(CS_SPI1_GPIO_Port, &GPIO_InitStruct);

  /*Configure GPIO pin : OTG_FS_PowerSwitchOn_Pin */
  GPIO_InitStruct.Pin = OTG_FS_PowerSwitchOn_Pin;
  GPIO_InitStruct.Mode = GPIO_MODE_OUTPUT_PP;
  GPIO_InitStruct.Pull = GPIO_NOPULL;
  GPIO_InitStruct.Speed = GPIO_SPEED_FREQ_LOW;
  HAL_GPIO_Init(OTG_FS_PowerSwitchOn_GPIO_Port, &GPIO_InitStruct);

  /*Configure GPIO pin : PDM_OUT_Pin */
  GPIO_InitStruct.Pin = PDM_OUT_Pin;
  GPIO_InitStruct.Mode = GPIO_MODE_AF_PP;
  GPIO_InitStruct.Pull = GPIO_NOPULL;
  GPIO_InitStruct.Speed = GPIO_SPEED_FREQ_LOW;
  GPIO_InitStruct.Alternate = GPIO_AF5_SPI2;
  HAL_GPIO_Init(PDM_OUT_GPIO_Port, &GPIO_InitStruct);

  /*Configure GPIO pin : PA0 */
  GPIO_InitStruct.Pin = GPIO_PIN_0;
  GPIO_InitStruct.Mode = GPIO_MODE_INPUT;
  GPIO_InitStruct.Pull = GPIO_NOPULL;
  HAL_GPIO_Init(GPIOA, &GPIO_InitStruct);

  /*Configure GPIO pin : I2S3_WS_Pin */
  GPIO_InitStruct.Pin = I2S3_WS_Pin;
  GPIO_InitStruct.Mode = GPIO_MODE_AF_PP;
  GPIO_InitStruct.Pull = GPIO_NOPULL;
  GPIO_InitStruct.Speed = GPIO_SPEED_FREQ_LOW;
  GPIO_InitStruct.Alternate = GPIO_AF6_SPI3;
  HAL_GPIO_Init(I2S3_WS_GPIO_Port, &GPIO_InitStruct);

  /*Configure GPIO pin : PB2 */
  GPIO_InitStruct.Pin = GPIO_PIN_2;
  GPIO_InitStruct.Mode = GPIO_MODE_OUTPUT_PP;
  GPIO_InitStruct.Pull = GPIO_NOPULL;
  GPIO_InitStruct.Speed = GPIO_SPEED_FREQ_LOW;
  HAL_GPIO_Init(GPIOB, &GPIO_InitStruct);

  /*Configure GPIO pins : mf_lf_Pin mb_lf_Pin PE9 mb_rb_Pin
                           PE11 mf_rb_Pin PE13 mb_lb_Pin */
  GPIO_InitStruct.Pin = mf_lf_Pin|mb_lf_Pin|GPIO_PIN_9|mb_rb_Pin
                          |GPIO_PIN_11|mf_rb_Pin|GPIO_PIN_13|mb_lb_Pin;
  GPIO_InitStruct.Mode = GPIO_MODE_OUTPUT_PP;
  GPIO_InitStruct.Pull = GPIO_NOPULL;
  GPIO_InitStruct.Speed = GPIO_SPEED_FREQ_LOW;
  HAL_GPIO_Init(GPIOE, &GPIO_InitStruct);

  /*Configure GPIO pins : CLK_IN_Pin PB12 */
  GPIO_InitStruct.Pin = CLK_IN_Pin|GPIO_PIN_12;
  GPIO_InitStruct.Mode = GPIO_MODE_AF_PP;
  GPIO_InitStruct.Pull = GPIO_NOPULL;
  GPIO_InitStruct.Speed = GPIO_SPEED_FREQ_LOW;
  GPIO_InitStruct.Alternate = GPIO_AF5_SPI2;
  HAL_GPIO_Init(GPIOB, &GPIO_InitStruct);

  /*Configure GPIO pins : LD4_Pin LD3_Pin LD5_Pin LD6_Pin
                           Audio_RST_Pin */
  GPIO_InitStruct.Pin = LD4_Pin|LD3_Pin|LD5_Pin|LD6_Pin
                          |Audio_RST_Pin;
  GPIO_InitStruct.Mode = GPIO_MODE_OUTPUT_PP;
  GPIO_InitStruct.Pull = GPIO_NOPULL;
  GPIO_InitStruct.Speed = GPIO_SPEED_FREQ_LOW;
  HAL_GPIO_Init(GPIOD, &GPIO_InitStruct);

  /*Configure GPIO pins : I2S3_MCK_Pin I2S3_SCK_Pin I2S3_SD_Pin */
  GPIO_InitStruct.Pin = I2S3_MCK_Pin|I2S3_SCK_Pin|I2S3_SD_Pin;
  GPIO_InitStruct.Mode = GPIO_MODE_AF_PP;
  GPIO_InitStruct.Pull = GPIO_NOPULL;
  GPIO_InitStruct.Speed = GPIO_SPEED_FREQ_LOW;
  GPIO_InitStruct.Alternate = GPIO_AF6_SPI3;
  HAL_GPIO_Init(GPIOC, &GPIO_InitStruct);

  /*Configure GPIO pin : PC11 */
  GPIO_InitStruct.Pin = GPIO_PIN_11;
  GPIO_InitStruct.Mode = GPIO_MODE_INPUT;
  GPIO_InitStruct.Pull = GPIO_NOPULL;
  HAL_GPIO_Init(GPIOC, &GPIO_InitStruct);

  /* EXTI interrupt init*/
  HAL_NVIC_SetPriority(EXTI1_IRQn, 0, 0);
  HAL_NVIC_EnableIRQ(EXTI1_IRQn);

  HAL_NVIC_SetPriority(EXTI2_IRQn, 0, 0);
  HAL_NVIC_EnableIRQ(EXTI2_IRQn);

  HAL_NVIC_SetPriority(EXTI4_IRQn, 0, 0);
  HAL_NVIC_EnableIRQ(EXTI4_IRQn);

}

void Error_Handler(void)
{
  __disable_irq();
  while (1)
  {
  }
}

/************************ (C) COPYRIGHT STMicroelectronics *****END OF FILE****/
